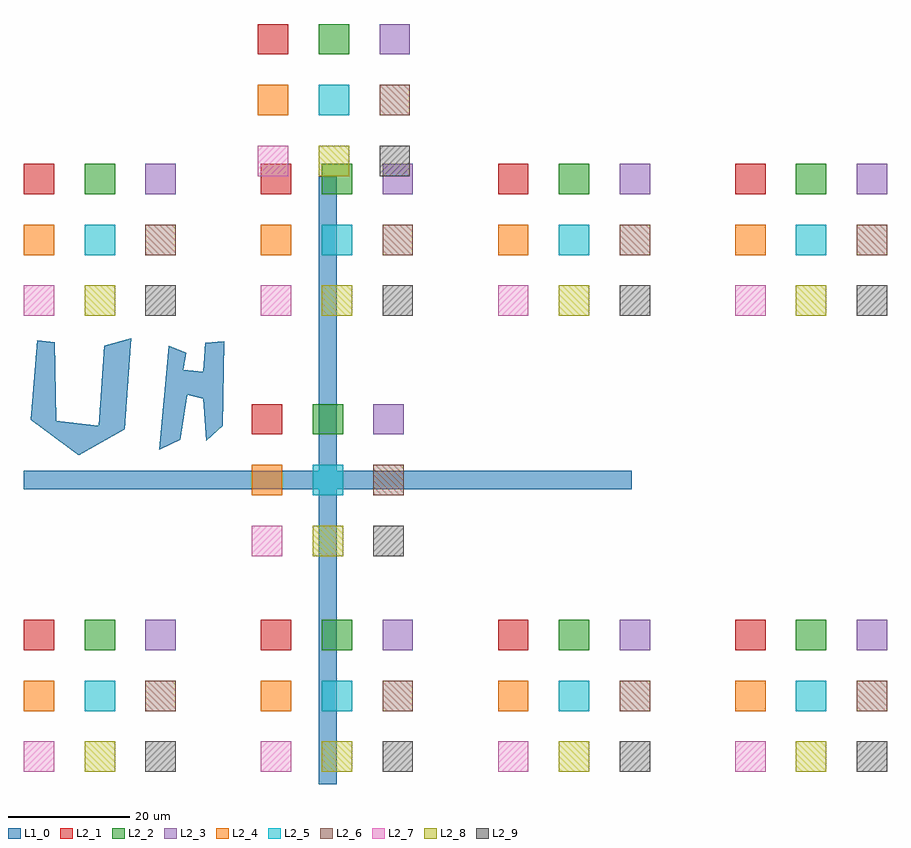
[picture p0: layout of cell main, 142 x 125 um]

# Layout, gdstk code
import gdstk
lib = gdstk.Library(unit=1e-6, precision=1e-09)
def R(c, l, rs):  # rectangles x0, y0, x1, y1
    for r in rs: c.add(gdstk.rectangle(r[:2], r[2:], *l))
def P(c, l, *ps):  # polygons
    for p in ps: c.add(gdstk.Polygon(p, *l))
L1_0 = (1, 0)
L2_1 = (2, 1)
L2_2 = (2, 2)
L2_3 = (2, 3)
L2_4 = (2, 4)
L2_5 = (2, 5)
L2_6 = (2, 6)
L2_7 = (2, 7)
L2_8 = (2, 8)
L2_9 = (2, 9)

cross = lib.new_cell('cross')
R(cross, L1_0, [(38.5,-10,41.5,38.5), (-10,38.5,90,41.5), (38.5,41.5,41.5,90)])
P(cross, L1_0, [(-0.995,44.059),(-8.89,49.901),(-7.785,63.007),(-4.943,62.691),(-4.627,49.743),(2.321,48.954),(3.268,62.059),(7.689,63.322),(6.584,48.322)],
  [(12.268,45.007),(13.847,62.059),(16.689,60.954),(16.215,58.112),(19.531,57.796),(19.847,62.533),(23.005,62.849),(22.689,48.954),(20.005,46.428),(19.531,53.375),(16.847,54.007),(15.742,46.585)])

dosearray = lib.new_cell('doseArray')
R(dosearray, L2_1, [(0,20,5,25)])
R(dosearray, L2_2, [(10,20,15,25)])
R(dosearray, L2_3, [(20,20,25,25)])
R(dosearray, L2_4, [(0,10,5,15)])
R(dosearray, L2_5, [(10,10,15,15)])
R(dosearray, L2_6, [(20,10,25,15)])
R(dosearray, L2_7, [(0,0,5,5)])
R(dosearray, L2_8, [(10,0,15,5)])
R(dosearray, L2_9, [(20,0,25,5)])

main = lib.new_cell('main')
main.add(gdstk.Reference(cross, (0,0)))
main.add(gdstk.Reference(dosearray, (27.5,27.5)))
main.add(gdstk.Reference(dosearray, (28.5,90)))
r = gdstk.Reference(dosearray, (-10,-8)); r.repetition = gdstk.Repetition(4, 2, v1=(39,0), v2=(0,75)); main.add(r)

lib.write_gds('main.gds')
